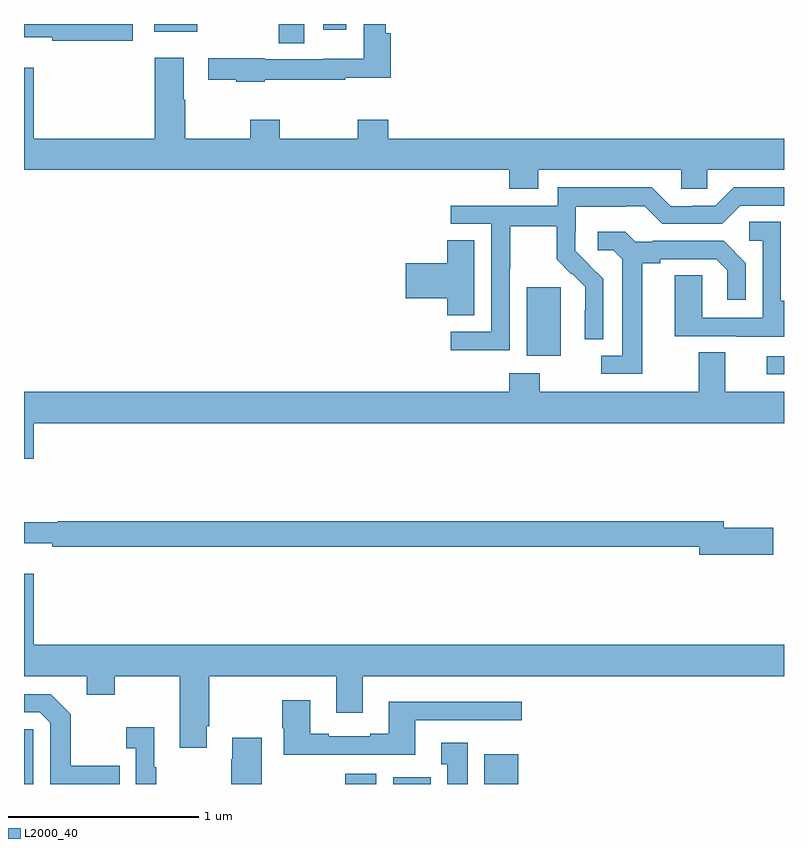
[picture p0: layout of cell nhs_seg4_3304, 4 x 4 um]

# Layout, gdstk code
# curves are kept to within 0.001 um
import gdstk
lib = gdstk.Library(unit=1e-6, precision=1e-09)
def R(c, l, rs):  # rectangles x0, y0, x1, y1
    for r in rs: c.add(gdstk.rectangle(r[:2], r[2:], *l))
def P(c, l, *ps):  # polygons
    for p in ps: c.add(gdstk.Polygon(p, *l))
L2000_40 = (2000, 40)

nhs_seg4_3304 = lib.new_cell('nhs_seg4_3304')
R(nhs_seg4_3304, L2000_40, [(285,814.9,285.048,815.187), (286.691,814.9,286.855,814.954), (286.943,814.9,287.14,814.936), (287.423,814.9,287.602,815.056), (288.909,817.056,289,817.152), (287.645,817.154,287.824,817.515), (286.34,818.8,286.474,818.9), (285.686,818.858,285.913,818.9), (286.574,818.871,286.696,818.9)])
P(nhs_seg4_3304, L2000_40, [(285.573,818.9),(285,818.9),(285,818.831),(285.148,818.831),(285.148,818.812),(285.573,818.812)],
  [(286.266,818.607),(286.691,818.607),(286.691,818.617),(286.931,818.617),(286.931,818.851),(286.904,818.851),(286.904,818.9),(286.788,818.9),(286.788,818.716),(286.578,818.716),(286.578,818.715),(286.266,818.715),(286.266,818.719),(285.969,818.719),(285.969,818.607),(286.116,818.607),(286.116,818.597),(286.266,818.597)],
  [(286.916,818.395),(286.756,818.395),(286.756,818.296),(286.347,818.296),(286.347,818.395),(286.192,818.395),(286.192,818.296),(285.849,818.296),(285.849,818.501),(285.841,818.501),(285.841,818.722),(285.689,818.722),(285.689,818.296),(285.052,818.296),(285.052,818.671),(285,818.671),(285,818.132),(287.555,818.132),(287.555,818.033),(287.707,818.033),(287.707,818.132),(288.459,818.132),(288.459,818.034),(288.597,818.034),(288.597,818.132),(289,818.132),(289,818.296),(286.916,818.296)],
  [(287.556,817.612),(287.559,817.612),(287.559,817.836),(287.803,817.836),(287.803,817.661),(287.88,817.584),(287.883,817.587),(287.954,817.517),(287.954,817.394),(287.952,817.394),(287.952,817.24),(288.048,817.24),(288.048,817.558),(287.902,817.706),(287.902,817.803),(287.904,817.803),(287.904,817.937),(288.167,817.937),(288.167,817.941),(288.267,817.941),(288.36,817.848),(288.675,817.848),(288.771,817.944),(289,817.944),(289,818.04),(288.735,818.04),(288.639,817.944),(288.521,817.944),(288.521,817.941),(288.405,817.941),(288.305,818.041),(287.808,818.041),(287.808,817.944),(287.247,817.944),(287.247,817.848),(287.46,817.848),(287.46,817.281),(287.247,817.281),(287.247,817.183),(287.556,817.183)],
  [(289,817.443),(288.984,817.443),(288.984,817.859),(288.816,817.859),(288.816,817.758),(288.888,817.758),(288.888,817.353),(288.57,817.353),(288.57,817.577),(288.425,817.577),(288.425,817.257),(288.749,817.257),(288.749,817.253),(289,817.253)],
  [(288.253,817.64),(288.349,817.64),(288.349,817.662),(288.644,817.662),(288.701,817.605),(288.701,817.449),(288.798,817.449),(288.798,817.642),(288.682,817.758),(288.31,817.758),(288.31,817.755),(288.216,817.755),(288.164,817.807),(288.021,817.807),(288.021,817.71),(288.102,817.71),(288.149,817.663),(288.149,817.155),(288.039,817.155),(288.039,817.059),(288.253,817.059)],
  [(287.371,817.763),(287.228,817.763),(287.228,817.64),(287.01,817.64),(287.01,817.457),(287.228,817.457),(287.228,817.366),(287.371,817.366)],
  [(289,816.964),(288.691,816.964),(288.691,817.172),(288.551,817.172),(288.551,816.964),(287.715,816.964),(287.715,817.063),(287.555,817.063),(287.555,816.964),(285,816.964),(285,816.612),(285.052,816.612),(285.052,816.8),(289,816.8)],
  [(288.943,816.248),(288.682,816.248),(288.682,816.284),(285.178,816.284),(285.178,816.277),(285,816.277),(285,816.167),(285.148,816.167),(285.148,816.148),(288.554,816.148),(288.554,816.106),(288.943,816.106)],
  [(285.961,815.203),(285.974,815.203),(285.974,815.468),(286.643,815.468),(286.643,815.274),(286.783,815.274),(286.783,815.468),(289,815.468),(289,815.632),(285.052,815.632),(285.052,816.007),(285,816.007),(285,815.468),(285.329,815.468),(285.329,815.369),(285.477,815.369),(285.477,815.468),(285.821,815.468),(285.821,815.091),(285.961,815.091)],
  [(285.503,814.995),(285.247,814.995),(285.247,815.267),(285.141,815.373),(285,815.373),(285,815.277),(285.084,815.277),(285.138,815.223),(285.138,814.9),(285.503,814.9)],
  [(286.599,815.055),(287.059,815.055),(287.059,815.235),(287.62,815.235),(287.62,815.332),(286.919,815.332),(286.919,815.164),(286.823,815.164),(286.823,815.151),(286.603,815.151),(286.603,815.164),(286.507,815.164),(286.507,815.341),(286.36,815.341),(286.36,815.193),(286.367,815.193),(286.367,815.054),(286.599,815.054)],
  [(285.697,814.987),(285.685,814.987),(285.685,815.2),(285.537,815.2),(285.537,815.087),(285.588,815.087),(285.588,814.9),(285.697,814.9)],
  [(286.252,815.143),(286.097,815.143),(286.097,815.03),(286.09,815.03),(286.09,814.9),(286.252,814.9)],
  [(287.335,815.116),(287.195,815.116),(287.195,815.003),(287.228,815.003),(287.228,814.9),(287.335,814.9)])

lib.write_gds('nhs_seg4_3304.gds')
